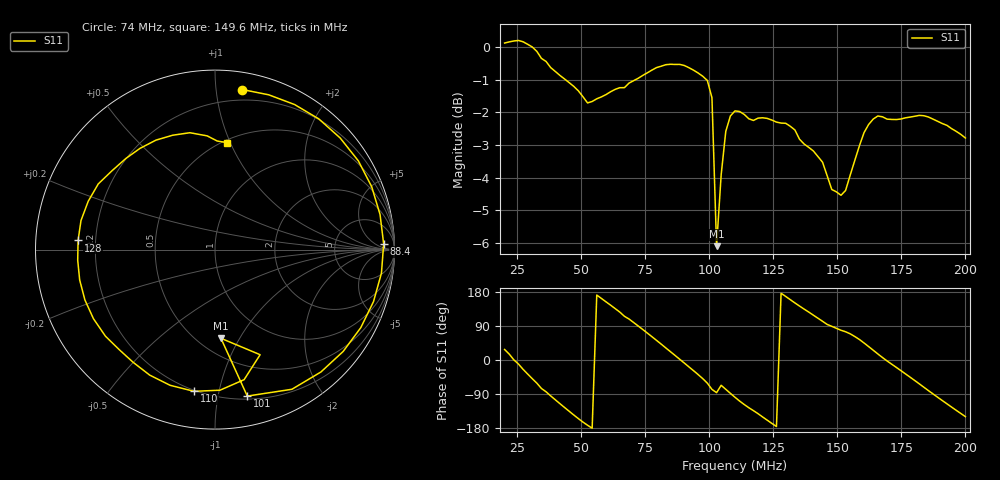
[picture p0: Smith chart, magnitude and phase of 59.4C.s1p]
# HZ S RI R 50
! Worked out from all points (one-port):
!   101 points, 20 MHz to 200 MHz, reference 50 ohm
!   lowest |S11| = -6.1 dB at 102.8 MHz (marker M1), VSWR 2.96, Z = 32 - j41.9 ohm
!   |S11| at or under -10 dB: nowhere
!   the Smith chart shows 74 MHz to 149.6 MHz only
!   S11 on the Smith chart (normalised r, x): 74 MHz: 0.12, +1.18; 88.4 MHz: 25, +14; 101 MHz: 0.23, -1.22; 110 MHz: 0.19, -0.84; 128 MHz: 0.13, +0.03; 149.6 MHz: 0.52, +0.97
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2e7  0.897 0.4723
2.54e7  1.006 -0.1884
3.26e7  0.4752 -0.862
3.8e7  -0.0767 -0.9265
4.34e7  -0.515 -0.7298
4.88e7  -0.7738 -0.3676
5.42e7  -0.825 -0.00025
6.5e7  -0.5143 0.6969
7.4e7  0.151 0.8919
8.12e7  0.6976 0.6216
8.84e7  0.9397 0.0313
9.56e7  0.7143 -0.5672
1.01e8  0.18 -0.8161
1.028e8  0.0332 -0.4943
1.046e8  0.2514 -0.5856
1.1e8  -0.1168 -0.7895
1.208e8  -0.6773 -0.3848
1.28e8  -0.7629 0.0511
1.334e8  -0.6502 0.3662
1.424e8  -0.2359 0.6373
1.496e8  0.0665 0.5963
1.55e8  0.227 0.5945
1.604e8  0.5228 0.5225
1.658e8  0.7535 0.2164
1.712e8  0.7603 -0.1475
1.784e8  0.5492 -0.5551
1.892e8  -0.1131 -0.7609
2e8  -0.6244 -0.3691
